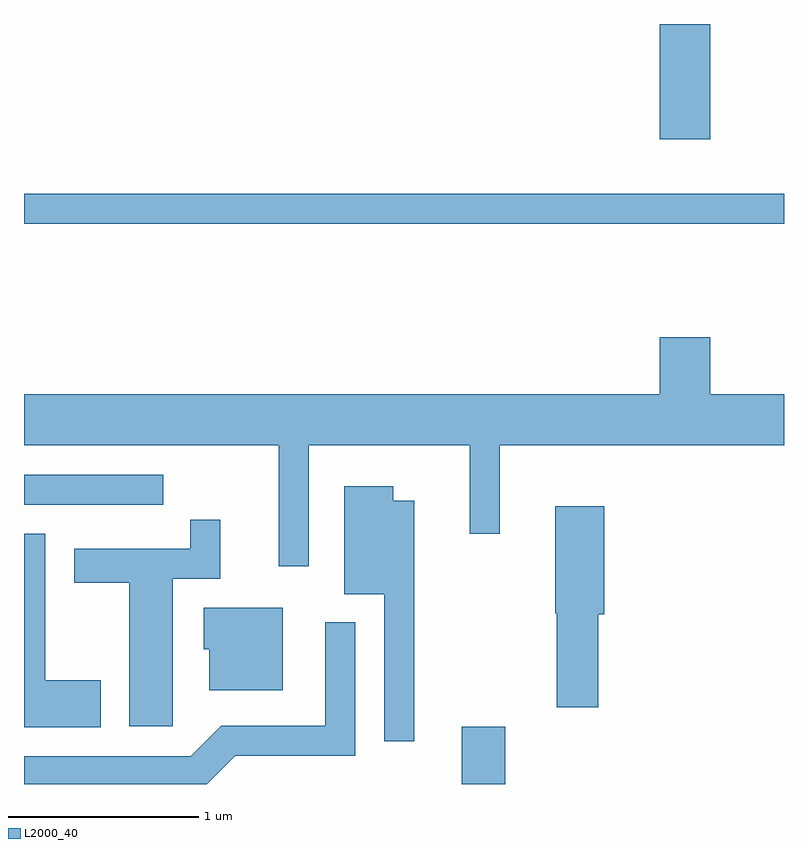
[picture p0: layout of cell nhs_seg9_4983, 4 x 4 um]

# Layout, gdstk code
import gdstk
lib = gdstk.Library(unit=1e-6, precision=1e-09)
def R(c, l, rs):  # rectangles x0, y0, x1, y1
    for r in rs: c.add(gdstk.rectangle(r[:2], r[2:], *l))
def P(c, l, *ps):  # polygons
    for p in ps: c.add(gdstk.Polygon(p, *l))
L2000_40 = (2000, 40)

nhs_seg9_4983 = lib.new_cell('nhs_seg9_4983')
R(nhs_seg9_4983, L2000_40, [(333.916,2034.432,334.144,2034.734), (331.611,2035.901,332.343,2036.059), (331.611,2037.381,335.611,2037.539), (334.956,2037.826,335.224,2038.432)])
P(nhs_seg9_4983, L2000_40, [(333.109,2036.216),(333.956,2036.216),(333.956,2035.748),(334.114,2035.748),(334.114,2036.216),(335.611,2036.216),(335.611,2036.484),(335.224,2036.484),(335.224,2036.784),(334.956,2036.784),(334.956,2036.484),(331.611,2036.484),(331.611,2036.216),(332.951,2036.216),(332.951,2035.578),(333.109,2035.578)],
  [(333.664,2035.924),(333.554,2035.924),(333.554,2035.999),(333.296,2035.999),(333.296,2035.431),(333.506,2035.431),(333.506,2034.658),(333.664,2034.658)],
  [(334.634,2035.326),(334.664,2035.326),(334.664,2035.894),(334.406,2035.894),(334.406,2035.33),(334.416,2035.33),(334.416,2034.836),(334.634,2034.836)],
  [(332.394,2035.511),(332.644,2035.511),(332.644,2035.823),(332.486,2035.823),(332.486,2035.669),(331.876,2035.669),(331.876,2035.491),(332.166,2035.491),(332.166,2034.736),(332.394,2034.736)],
  [(332.014,2034.979),(331.724,2034.979),(331.724,2035.749),(331.611,2035.749),(331.611,2034.731),(332.014,2034.731)],
  [(332.974,2035.359),(332.556,2035.359),(332.556,2035.141),(332.586,2035.141),(332.586,2034.926),(332.974,2034.926)],
  [(332.722,2034.581),(333.354,2034.581),(333.354,2035.283),(333.196,2035.283),(333.196,2034.739),(332.649,2034.739),(332.489,2034.579),(331.611,2034.579),(331.611,2034.432),(332.573,2034.432)])

lib.write_gds('nhs_seg9_4983.gds')
